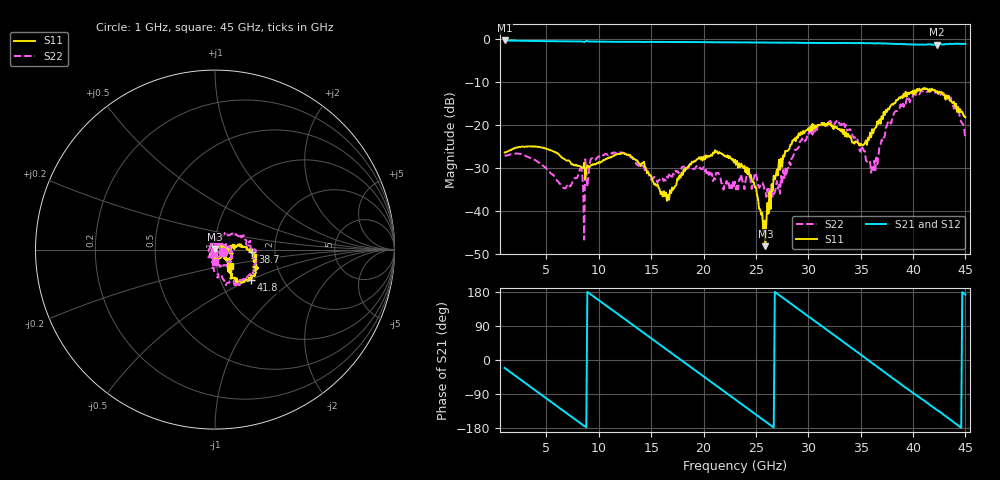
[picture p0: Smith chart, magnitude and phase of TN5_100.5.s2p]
!Keysight Technologies,N5247B,MY61255062,A.19.80.06
!Date: Monday, May 18, 2026 12:24:55
!Correction: S11(Cdelta 2-Port  )
!S21(Cdelta 2-Port  )
!S12(Cdelta 2-Port  )
!S22(Cdelta 2-Port  )
!S2P File: Measurements: S11, S21, S12, S22:
# Hz S  dB  R 50
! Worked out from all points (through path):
!   441 points, 1 GHz to 45 GHz, reference 50 ohm
!   highest |S21| = -0.42 dB at 1 GHz (marker M1); lowest = -1.4 dB at 42.3 GHz (marker M2)
!   group delay of S21, straight-line fit = 55.9 ps
!   lowest |S11| = -48.3 dB at 25.9 GHz (marker M3), VSWR 1.01, Z = 50 + j0.384 ohm
!   |S11| at or under -10 dB: start of sweep to end of sweep
!   |S22| runs from -46.7 to -12.0 dB; largest |S21 - S12| = 0.021
!   S11 on the Smith chart (normalised r, x): 1 GHz: 1.09, -0.03; 38.7 GHz: 1.53, -0.04; 41.8 GHz: 1.40, -0.50; 45 GHz: 1.16, -0.21
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1e9  -26.50 -16.6  -0.42 -20.9  -0.41 -20.9  -27.09 -17.5
4.6e9  -25.39 -95.3  -0.57 -93.6  -0.57 -93.6  -29.47 -92.6
8.4e9  -30.12 -114.5  -0.66 -170.3  -0.66 -170.3  -30.94 -56.7
9.4e9  -29.26 -108.4  -0.67 169.6  -0.67 169.6  -27.87 -78.2
1.24e10  -26.61 -122.4  -0.74 109.6  -0.75 109.5  -26.69 -117.3
1.57e10  -34.63 -124.0  -0.76 43.1  -0.77 43.0  -33.00 -119.8
1.67e10  -37.49 -96.7  -0.79 22.9  -0.80 22.9  -31.62 -104.4
1.9e10  -28.77 -74.7  -0.81 -23.1  -0.81 -23.2  -30.35 -109.0
2.11e10  -25.93 -86.4  -0.86 -65.5  -0.86 -65.5  -32.79 -117.3
2.3e10  -28.18 -109.4  -0.84 -103.7  -0.84 -103.8  -33.29 -109.3
2.45e10  -31.68 -123.5  -0.87 -134.0  -0.87 -134.1  -33.24 -113.2
2.59e10  -48.29 85.0  -0.89 -162.2  -0.91 -162.3  -35.42 -161.9
2.78e10  -26.08 27.4  -0.94 159.4  -0.95 159.4  -30.21 75.8
3.04e10  -19.84 -11.9  -0.99 107.2  -1.00 107.0  -22.34 2.2
3.24e10  -21.03 -37.6  -1.02 66.9  -1.02 66.8  -20.34 -45.3
3.46e10  -23.97 -29.7  -1.02 22.5  -1.04 22.2  -22.79 -98.5
3.62e10  -21.98 6.2  -1.08 -10.1  -1.11 -10.2  -30.55 140.2
3.77e10  -16.45 5.0  -1.16 -40.6  -1.13 -40.8  -19.88 58.1
3.87e10  -13.60 -3.3  -1.23 -60.9  -1.30 -61.1  -16.41 29.7
4.18e10  -11.64 -40.0  -1.42 -122.4  -1.37 -122.3  -12.45 -34.8
4.23e10  -12.25 -45.4  -1.43 -131.9  -1.36 -132.6  -12.27 -44.6
4.5e10  -18.28 -48.0  -1.21 172.5  -1.17 172.0  -23.19 -91.4
